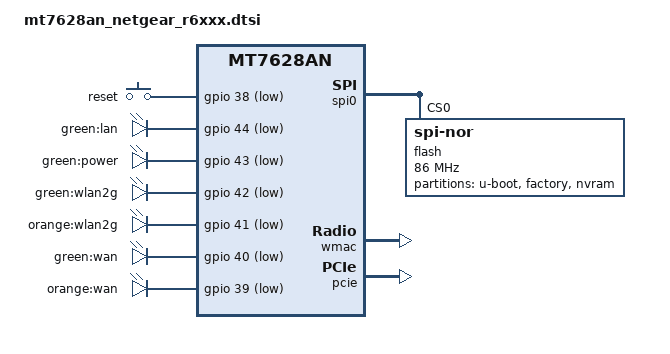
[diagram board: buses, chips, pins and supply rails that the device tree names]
// SPDX-License-Identifier: GPL-2.0-or-later OR MIT

#include "mt7628an.dtsi"

#include <dt-bindings/gpio/gpio.h>
#include <dt-bindings/input/input.h>

/ {
	aliases {
		led-boot = &led_power;
		led-failsafe = &led_power;
		led-running = &led_power;
		led-upgrade = &led_power;
	};

	keys {
		compatible = "gpio-keys";

		reset {
			label = "reset";
			gpios = <&gpio 38 GPIO_ACTIVE_LOW>;
			linux,code = <KEY_RESTART>;
		};
	};

	leds {
		compatible = "gpio-leds";

		lan {
			label = "green:lan";
			gpios = <&gpio 44 GPIO_ACTIVE_LOW>;
		};

		led_power: power {
			label = "green:power";
			gpios = <&gpio 43 GPIO_ACTIVE_LOW>;
		};

		wlan2g_green {
			label = "green:wlan2g";
			gpios = <&gpio 42 GPIO_ACTIVE_LOW>;
			linux,default-trigger = "phy0tpt";
		};

		wlan2g_orange {
			label = "orange:wlan2g";
			gpios = <&gpio 41 GPIO_ACTIVE_LOW>;
		};

		wan_green {
			label = "green:wan";
			gpios = <&gpio 40 GPIO_ACTIVE_LOW>;
		};

		wan_orange {
			label = "orange:wan";
			gpios = <&gpio 39 GPIO_ACTIVE_LOW>;
		};
	};
};

&spi0 {
	status = "okay";

	flash@0 {
		compatible = "jedec,spi-nor";
		reg = <0>;
		spi-max-frequency = <86000000>;
		m25p,fast-read;

		partitions: partitions {
			compatible = "fixed-partitions";
			#address-cells = <1>;
			#size-cells = <1>;

			partition@0 {
				label = "u-boot";
				reg = <0x0 0x40000>;
				read-only;
			};

			factory: partition@40000 {
				label = "factory";
				reg = <0x40000 0x20000>;
				read-only;
			};

			partition@60000 {
				label = "nvram";
				reg = <0x60000 0x30000>;
				read-only;
			};
		};
	};
};

&wmac {
	status = "okay";

	mediatek,mtd-eeprom = <&factory 0x0>;
};

&ethernet {
	nvmem-cells = <&macaddr_factory_4>;
	nvmem-cell-names = "mac-address";
};

&pcie {
	status = "okay";
};

&pcie0 {
	wifi5: wifi@0,0 {
		reg = <0x0000 0 0 0 0>;
		mediatek,mtd-eeprom = <&factory 0x8000>;
		ieee80211-freq-limit = <5000000 6000000>;
	};
};

&factory {
	compatible = "nvmem-cells";
	#address-cells = <1>;
	#size-cells = <1>;

	macaddr_factory_4: macaddr@4 {
		reg = <0x4 0x6>;
	};
};
